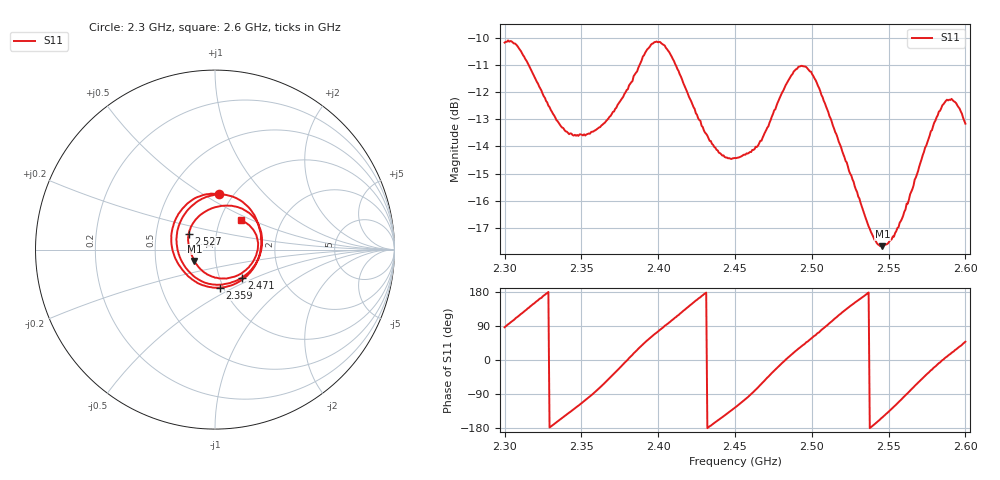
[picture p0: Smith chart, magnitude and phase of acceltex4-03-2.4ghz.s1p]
! NanoVNA-App
! Date: 2026-05-22 19:59:29
! Start: 2.3GHz Stop: 2.6GHz Points: 401
! S-Parameter data: F S11
# Hz S RI R 50
!  Frequency  S11_Real  S11_Imag
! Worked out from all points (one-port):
!   401 points, 2.3 GHz to 2.6 GHz, reference 50 ohm
!   lowest |S11| = -17.7 dB at 2.546 GHz (marker M1), VSWR 1.30, Z = 39.4 - j5.04 ohm
!   |S11| at or under -10 dB: start of sweep to end of sweep
!   S11 on the Smith chart (normalised r, x): 2.3 GHz: 0.86, +0.59; 2.359 GHz: 0.96, -0.43; 2.471 GHz: 1.27, -0.42; 2.527 GHz: 0.73, +0.13; 2.6 GHz: 1.26, +0.43
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2.3e9  0.0196 0.3093
2.30825e9  -0.1213 0.2805
2.31875e9  -0.2299 0.1431
2.3375e9  -0.1923 -0.0987
2.35925e9  0.0262 -0.2122
2.3675e9  0.1401 -0.1754
2.375e9  0.226 -0.0846
2.3855e9  0.2503 0.1083
2.39675e9  0.1309 0.2799
2.40425e9  -0.00131 0.3061
2.4125e9  -0.125 0.2473
2.42825e9  -0.2136 0.0424
2.45e9  -0.1104 -0.1546
2.46125e9  0.00948 -0.1964
2.471e9  0.1482 -0.1572
2.47925e9  0.239 -0.0568
2.4875e9  0.2598 0.0784
2.49725e9  0.184 0.2078
2.50475e9  0.0745 0.2446
2.516e9  -0.0803 0.1942
2.525e9  -0.1405 0.1088
2.52725e9  -0.147 0.0888
2.546e9  -0.1146 -0.0629
2.5625e9  0.00752 -0.1564
2.57225e9  0.1294 -0.1424
2.58425e9  0.2342 -0.0129
2.591e9  0.2309 0.0792
2.6e9  0.146 0.1643
